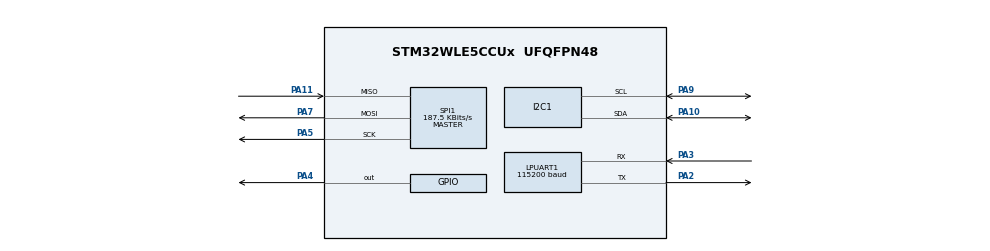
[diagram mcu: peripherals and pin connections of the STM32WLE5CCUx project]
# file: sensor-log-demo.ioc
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I2C1.Timing=0x10805D88
LPUART1.BaudRate=115200
LPUART1.Mode=UART_MODE_RX
LPUART1.OverrunDisableParam=UART_ADVFEATURE_OVERRUN_DISABLE
Mcu.Family=STM32WL
Mcu.Name=STM32WLE5CCUx
Mcu.Package=UFQFPN48
NVIC.LPUART1_IRQn=true\:0\:0\:false\:false\:true\:true\:true\:true
NVIC.PriorityGroup=NVIC_PRIORITYGROUP_4
PA10.Mode=I2C
PA10.Signal=I2C1_SDA
PA11.Mode=Full_Duplex_Master
PA11.Signal=SPI1_MISO
PA13.Mode=Serial_Wire
PA13.Signal=DEBUG_JTMS-SWDIO
PA14.Mode=Serial_Wire
PA14.Signal=DEBUG_JTCK-SWCLK
PA2.Mode=Asynchronous
PA2.Signal=LPUART1_TX
PA3.Mode=Asynchronous
PA3.Signal=LPUART1_RX
PA4.Signal=GPIO_Output
PA5.Mode=Full_Duplex_Master
PA5.Signal=SPI1_SCK
PA7.Mode=Full_Duplex_Master
PA7.Signal=SPI1_MOSI
PA9.Mode=I2C
PA9.Signal=I2C1_SCL
ProjectManager.HeapSize=0x200
ProjectManager.StackSize=0x400
ProjectManager.TargetToolchain=STM32CubeIDE
RCC.AHBFreq_Value=48000000
RCC.APB1Freq_Value=48000000
RCC.APB1TimFreq_Value=48000000
RCC.APB2Freq_Value=48000000
RCC.APB2TimFreq_Value=48000000
RCC.APB3Freq_Value=48000000
RCC.CortexFreq_Value=48000000
RCC.HCLKFreq_Value=48000000
RCC.HSE_VALUE=8000000
RCC.HSI_VALUE=16000000
RCC.LSE_VALUE=32768
RCC.MSIClockRange=RCC_MSIRANGE_11
RCC.SYSCLKFreq_VALUE=48000000
RCC.VCOOutputFreq_Value=384000000
SPI1.BaudRatePrescaler=SPI_BAUDRATEPRESCALER_256
SPI1.CalculateBaudRate=187.5 KBits/s
SPI1.DataSize=SPI_DATASIZE_8BIT
SPI1.Direction=SPI_DIRECTION_2LINES
SPI1.Mode=SPI_MODE_MASTER
SPI1.VirtualType=VM_MASTER
VP_FATFS_VS_Generic.Mode=User_defined
board=custom

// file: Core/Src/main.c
/* USER CODE BEGIN Header */
/**
 ******************************************************************************
 * @file           : main.c
 * @brief          : Main program body
 ******************************************************************************
 * @attention
 *
 * Copyright (c) 2025 STMicroelectronics.
 * All rights reserved.
 *
 * This software is licensed under terms that can be found in the LICENSE file
 * in the root directory of this software component.
 * If no LICENSE file comes with this software, it is provided AS-IS.
 *
 ******************************************************************************
 */
/* USER CODE END Header */
#include "main.h"
#include "app_fatfs.h"

/* USER CODE BEGIN Includes */

#include "app_fatfs.h"
#include "sensor_log.h"

#include <stdarg.h>
#include <stdio.h>
#include <string.h>

/* USER CODE END Includes */

/* USER CODE BEGIN PD */

#define MIN(a,b) (((a)<(b))?(a):(b))
#define MAX(a,b) (((a)>(b))?(a):(b))

/* USER CODE END PD */

UART_HandleTypeDef hlpuart1;

SPI_HandleTypeDef hspi1;

/* USER CODE BEGIN PV */

sensor_data_t data = { 0 };

// Declaring FatFS related objects.; filesystem, file object for general use,
// and result code for FatFS ops.
FATFS fs;
FIL file;
FRESULT res;

// Declaring FatFS related objects.; filesystem, file object for general use,
// and result code for FatFS ops.
FATFS fs;
FIL file;
FRESULT res;

// Creates file object for CSV log
// Object for number of bytes written
FIL csvFile;
UINT bytes_written;
char csv_line[256];   // Buffer for formatted CSV row

/* USER CODE END PV */

void SystemClock_Config(void);
static void MX_GPIO_Init(void);
static void MX_I2C1_Init(void);
static void MX_SPI1_Init(void);
static void MX_LPUART1_UART_Init(void);

/* USER CODE BEGIN 0 */

void myprintf(const char *fmt, ...) {
	static char buffer[256];
	va_list args;
	va_start(args, fmt);
	vsnprintf(buffer, sizeof(buffer), fmt, args);
	va_end(args);
	//HAL_UART_Transmit(&huart2, (uint8_t*) buffer, strlen(buffer), HAL_MAX_DELAY);
}

/* USER CODE END 0 */

int main(void) {

	/* MCU Configuration--------------------------------------------------------*/

	/* Reset of all peripherals, Initializes the Flash interface and the Systick. */
	HAL_Init();

	/* Configure the system clock */
	SystemClock_Config();

	/* Initialize all configured peripherals */
	MX_GPIO_Init();
	MX_I2C1_Init();
	MX_SPI1_Init();
	MX_LPUART1_UART_Init();
	MX_FATFS_Init();
	/* USER CODE BEGIN 2 */

	// Link the FatFS driver to SD logical drive
	FATFS_LinkDriver(&USER_Driver, "/SD");

	//-- Mount the filesystem --
	res = f_mount(&fs, "/SD", 1);
	if (res != FR_OK) {
		// If mounting fails print error and halt
		myprintf("f_mount failed (%d)\r\n", res);
		Error_Handler();
	} else {
		// Print if mounting succeeds
		myprintf("SD mounted.\r\n");
	}

	//-- CSV File Setup --
	// Open/create CSV file for writing
	res = f_open(&csvFile, "data.csv", FA_WRITE | FA_OPEN_ALWAYS);
	if (res == FR_OK) {
		// CSV column headers
		const char *header =
				"timestamp,yaw,pitch,roll,x_accel,y_accel,z_accel,temperature,pressure,humidity\r\n";
		res = f_write(&csvFile, header, strlen(header), &bytes_written);
		if (res == FR_OK) {
			myprintf("CSV header written.\r\n");
		} else {
			myprintf("CSV header write failed (%d).\r\n", res);
		}
		// Close file after writing
		f_close(&csvFile);

	} else {
		// If opening CSV file failed print
		myprintf("Failed to open data.csv (%d).\r\n", res);
	}

	MS8607_init(I2C1); // init pressure, temperature, and relative humidity sensor

	/* USER CODE END 2 */

	/* Infinite loop */
	/* USER CODE BEGIN WHILE */

	while (1) {

		// fill data struct
		data.timestamp = HAL_GetTick();
		get_bno_data(&data);
		MS8607_get_press_temp(&data.pressure, &data.temperature);
		MS8607_get_rel_humidity(&data.rel_humidity, data.temperature);

		// Format CSV line
		format_csv_line(csv_line, sizeof(csv_line), &data);

		// Open file in append mode
		res = f_open(&csvFile, "data.csv", FA_OPEN_APPEND | FA_WRITE);
		if (res == FR_OK) {
			UINT bytes_written;
			res = f_write(&csvFile, csv_line, strlen(csv_line), &bytes_written);
			f_close(&csvFile);

			// Report success or failure over UART
			if (res == FR_OK) {
				myprintf("Row written: %s", csv_line);
			} else {
				myprintf("Write failed (%d)\r\n", res);
			}
		} else {
			myprintf("Append open failed (%d)\r\n", res);
		}

		/* USER CODE END WHILE */

	}
}

void SystemClock_Config(void) {
	RCC_OscInitTypeDef RCC_OscInitStruct = { 0 };
	RCC_ClkInitTypeDef RCC_ClkInitStruct = { 0 };

	/** Configure the main internal regulator output voltage
	 */
	__HAL_PWR_VOLTAGESCALING_CONFIG(PWR_REGULATOR_VOLTAGE_SCALE1);

	/** Initializes the CPU, AHB and APB buses clocks
	 */
	RCC_OscInitStruct.OscillatorType = RCC_OSCILLATORTYPE_MSI;
	RCC_OscInitStruct.MSIState = RCC_MSI_ON;
	RCC_OscInitStruct.MSICalibrationValue = RCC_MSICALIBRATION_DEFAULT;
	RCC_OscInitStruct.MSIClockRange = RCC_MSIRANGE_11;
	RCC_OscInitStruct.PLL.PLLState = RCC_PLL_NONE;
	if (HAL_RCC_OscConfig(&RCC_OscInitStruct) != HAL_OK) {
		Error_Handler();
	}

	/** Configure the SYSCLKSource, HCLK, PCLK1 and PCLK2 clocks dividers
	 */
	RCC_ClkInitStruct.ClockType = RCC_CLOCKTYPE_HCLK3 | RCC_CLOCKTYPE_HCLK
			| RCC_CLOCKTYPE_SYSCLK | RCC_CLOCKTYPE_PCLK1 | RCC_CLOCKTYPE_PCLK2;
	RCC_ClkInitStruct.SYSCLKSource = RCC_SYSCLKSOURCE_MSI;
	RCC_ClkInitStruct.AHBCLKDivider = RCC_SYSCLK_DIV1;
	RCC_ClkInitStruct.APB1CLKDivider = RCC_HCLK_DIV1;
	RCC_ClkInitStruct.APB2CLKDivider = RCC_HCLK_DIV1;
	RCC_ClkInitStruct.AHBCLK3Divider = RCC_SYSCLK_DIV1;

	if (HAL_RCC_ClockConfig(&RCC_ClkInitStruct, FLASH_LATENCY_2) != HAL_OK) {
		Error_Handler();
	}
}

static void MX_I2C1_Init(void) {

	LL_I2C_InitTypeDef I2C_InitStruct = { 0 };

	LL_GPIO_InitTypeDef GPIO_InitStruct = { 0 };
	RCC_PeriphCLKInitTypeDef PeriphClkInitStruct = { 0 };

	/** Initializes the peripherals clocks
	 */
	PeriphClkInitStruct.PeriphClockSelection = RCC_PERIPHCLK_I2C1;
	PeriphClkInitStruct.I2c1ClockSelection = RCC_I2C1CLKSOURCE_PCLK1;
	if (HAL_RCCEx_PeriphCLKConfig(&PeriphClkInitStruct) != HAL_OK) {
		Error_Handler();
	}

	LL_AHB2_GRP1_EnableClock(LL_AHB2_GRP1_PERIPH_GPIOA);
	/**I2C1 GPIO Configuration
	 PA9   ------> I2C1_SCL
	 PA10   ------> I2C1_SDA
	 */
	GPIO_InitStruct.Pin = LL_GPIO_PIN_9 | LL_GPIO_PIN_10;
	GPIO_InitStruct.Mode = LL_GPIO_MODE_ALTERNATE;
	GPIO_InitStruct.Speed = LL_GPIO_SPEED_FREQ_LOW;
	GPIO_InitStruct.OutputType = LL_GPIO_OUTPUT_OPENDRAIN;
	GPIO_InitStruct.Pull = LL_GPIO_PULL_NO;
	GPIO_InitStruct.Alternate = LL_GPIO_AF_4;
	LL_GPIO_Init(GPIOA, &GPIO_InitStruct);

	/* Peripheral clock enable */
	LL_APB1_GRP1_EnableClock(LL_APB1_GRP1_PERIPH_I2C1);

	/** I2C Initialization
	 */
	LL_I2C_EnableAutoEndMode(I2C1);
	LL_I2C_DisableOwnAddress2(I2C1);
	LL_I2C_DisableGeneralCall(I2C1);
	LL_I2C_EnableClockStretching(I2C1);
	I2C_InitStruct.PeripheralMode = LL_I2C_MODE_I2C;
	I2C_InitStruct.Timing = 0x10805D88;
	I2C_InitStruct.AnalogFilter = LL_I2C_ANALOGFILTER_ENABLE;
	I2C_InitStruct.DigitalFilter = 0;
	I2C_InitStruct.OwnAddress1 = 0;
	I2C_InitStruct.TypeAcknowledge = LL_I2C_ACK;
	I2C_InitStruct.OwnAddrSize = LL_I2C_OWNADDRESS1_7BIT;
	LL_I2C_Init(I2C1, &I2C_InitStruct);
	LL_I2C_SetOwnAddress2(I2C1, 0, LL_I2C_OWNADDRESS2_NOMASK);

}

static void MX_LPUART1_UART_Init(void) {

	hlpuart1.Instance = LPUART1;
	hlpuart1.Init.BaudRate = 115200;
	hlpuart1.Init.WordLength = UART_WORDLENGTH_8B;
	hlpuart1.Init.StopBits = UART_STOPBITS_1;
	hlpuart1.Init.Parity = UART_PARITY_NONE;
	hlpuart1.Init.Mode = UART_MODE_RX;
	hlpuart1.Init.HwFlowCtl = UART_HWCONTROL_NONE;
	hlpuart1.Init.OneBitSampling = UART_ONE_BIT_SAMPLE_DISABLE;
	hlpuart1.Init.ClockPrescaler = UART_PRESCALER_DIV1;
	hlpuart1.AdvancedInit.AdvFeatureInit =
	UART_ADVFEATURE_RXOVERRUNDISABLE_INIT;
	hlpuart1.AdvancedInit.OverrunDisable = UART_ADVFEATURE_OVERRUN_DISABLE;
	hlpuart1.FifoMode = UART_FIFOMODE_DISABLE;
	if (HAL_UART_Init(&hlpuart1) != HAL_OK) {
		Error_Handler();
	}
	if (HAL_UARTEx_SetTxFifoThreshold(&hlpuart1, UART_TXFIFO_THRESHOLD_1_8)
			!= HAL_OK) {
		Error_Handler();
	}
	if (HAL_UARTEx_SetRxFifoThreshold(&hlpuart1, UART_RXFIFO_THRESHOLD_1_8)
			!= HAL_OK) {
		Error_Handler();
	}
	if (HAL_UARTEx_DisableFifoMode(&hlpuart1) != HAL_OK) {
		Error_Handler();
	}

}

static void MX_SPI1_Init(void) {

	/* SPI1 parameter configuration*/
	hspi1.Instance = SPI1;
	hspi1.Init.Mode = SPI_MODE_MASTER;
	hspi1.Init.Direction = SPI_DIRECTION_2LINES;
	hspi1.Init.DataSize = SPI_DATASIZE_8BIT;
	hspi1.Init.CLKPolarity = SPI_POLARITY_LOW;
	hspi1.Init.CLKPhase = SPI_PHASE_1EDGE;
	hspi1.Init.NSS = SPI_NSS_SOFT;
	hspi1.Init.BaudRatePrescaler = SPI_BAUDRATEPRESCALER_256;
	hspi1.Init.FirstBit = SPI_FIRSTBIT_MSB;
	hspi1.Init.TIMode = SPI_TIMODE_DISABLE;
	hspi1.Init.CRCCalculation = SPI_CRCCALCULATION_DISABLE;
	hspi1.Init.CRCPolynomial = 7;
	hspi1.Init.CRCLength = SPI_CRC_LENGTH_DATASIZE;
	hspi1.Init.NSSPMode = SPI_NSS_PULSE_ENABLE;
	if (HAL_SPI_Init(&hspi1) != HAL_OK) {
		Error_Handler();
	}

}

static void MX_GPIO_Init(void) {
	GPIO_InitTypeDef GPIO_InitStruct = { 0 };

	/* GPIO Ports Clock Enable */
	__HAL_RCC_GPIOA_CLK_ENABLE();

	/*Configure GPIO pin Output Level */
	HAL_GPIO_WritePin(GPIOA, GPIO_PIN_4, GPIO_PIN_RESET);

	/*Configure GPIO pin : PA4 */
	GPIO_InitStruct.Pin = GPIO_PIN_4;
	GPIO_InitStruct.Mode = GPIO_MODE_OUTPUT_PP;
	GPIO_InitStruct.Pull = GPIO_NOPULL;
	GPIO_InitStruct.Speed = GPIO_SPEED_FREQ_LOW;
	HAL_GPIO_Init(GPIOA, &GPIO_InitStruct);

}

void Error_Handler(void) {
	__disable_irq();
	while (1) {
	}
}
